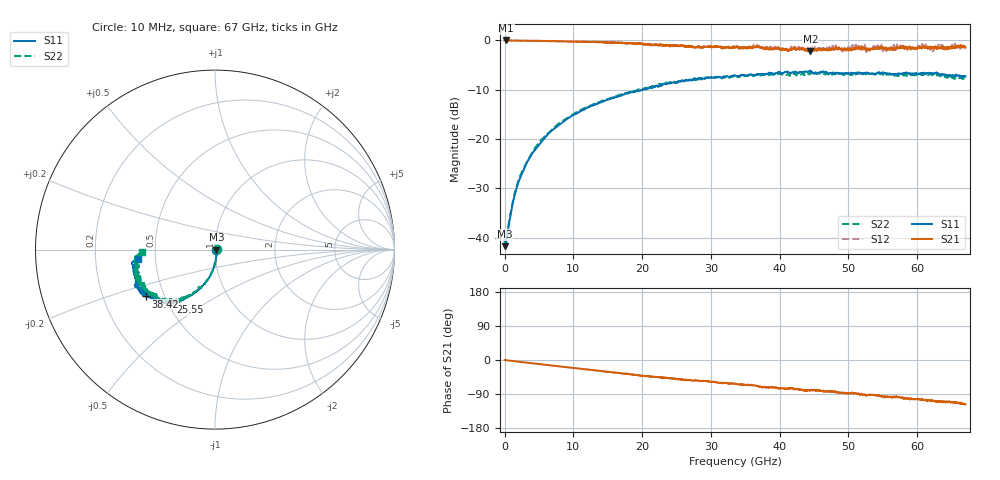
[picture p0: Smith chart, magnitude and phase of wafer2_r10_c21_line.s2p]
!Keysight Technologies,N5227A,US51270248,A.10.65.08
!Date: Tuesday, June 11, 2024 06:27:27
!Correction: S11(Full 2 Port(1,4))
!S41(Full 2 Port(1,4))
!S14(Full 2 Port(1,4))
!S44(Full 2 Port(1,4))
!S2P File: Measurements: S11, S41, S14, S44:
# Hz S  dB  R 50
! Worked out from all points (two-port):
!   3201 points, 10 MHz to 67 GHz, reference 50 ohm
!   highest |S21| = -0.07 dB at 240.3 MHz (marker M1); lowest = -2.3 dB at 44.47 GHz (marker M2)
!   |S21| within 3 dB of the highest: start of sweep to end of sweep
!   lowest |S11| = -41.7 dB at 10 MHz (marker M3), VSWR 1.02, Z = 50.8 - j0.0031 ohm
!   |S11| at or under -10 dB: start of sweep to 20.16 GHz
!   |S22| runs from -41.0 to -6.6 dB; largest |S21 - S12| = 0.097
!   S11 on the Smith chart (normalised r, x): 10 MHz: 1.02, -0.00; 25.55 GHz: 0.52, -0.36; 38.42 GHz: 0.39, -0.26; 67 GHz: 0.40, -0.05
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1e7  -41.72 -0.2  -0.07 -0.0  -0.08 -0.1  -41.01 5.7
2.402781e8  -41.08 -27.1  -0.07 -0.5  -0.08 -0.5  -40.03 -24.5
1.705684e9  -30.16 -75.1  -0.09 -3.8  -0.10 -3.8  -29.84 -73.9
3.673516e9  -23.76 -86.8  -0.13 -7.9  -0.14 -7.9  -23.61 -87.7
6.646197e9  -18.59 -96.4  -0.19 -14.1  -0.21 -14.2  -18.43 -96.6
1.118896e10  -14.29 -106.3  -0.31 -23.2  -0.37 -23.3  -14.03 -107.0
2.234698e10  -9.47 -124.9  -1.00 -45.1  -0.94 -44.8  -9.00 -125.1
2.554994e10  -8.35 -130.1  -1.12 -51.0  -1.19 -49.5  -8.40 -131.7
3.3505e10  -7.14 -142.6  -1.45 -62.4  -1.58 -62.6  -7.39 -144.8
3.842458e10  -6.63 -146.0  -1.73 -72.7  -1.65 -69.3  -7.14 -149.0
4.447461e10  -6.20 -155.9  -2.29 -79.6  -1.78 -77.1  -6.67 -155.2
4.468396e10  -6.43 -156.9  -2.03 -79.9  -1.66 -81.3  -6.66 -155.9
4.786598e10  -6.68 -158.8  -1.95 -83.8  -1.84 -86.0  -6.83 -158.3
4.943606e10  -6.69 -158.1  -1.74 -87.2  -1.75 -87.0  -6.95 -160.2
5.121548e10  -6.62 -159.7  -1.63 -90.3  -1.65 -91.9  -6.89 -161.3
5.584198e10  -6.76 -163.5  -1.64 -97.1  -1.86 -97.0  -6.96 -167.0
6.048941e10  -6.73 -166.0  -1.50 -104.6  -1.40 -103.2  -6.93 -169.5
6.210136e10  -6.73 -168.6  -1.51 -105.4  -1.86 -109.6  -6.96 -172.6
6.327368e10  -6.92 -171.3  -1.71 -109.0  -1.27 -109.0  -7.30 -175.2
6.398545e10  -7.03 -171.6  -1.45 -111.2  -1.76 -113.6  -7.40 -176.4
6.517871e10  -7.16 -171.7  -1.46 -111.3  -1.45 -113.2  -7.66 -176.3
6.7e10  -7.32 -173.0  -1.47 -116.5  -1.79 -115.6  -7.87 -178.3
